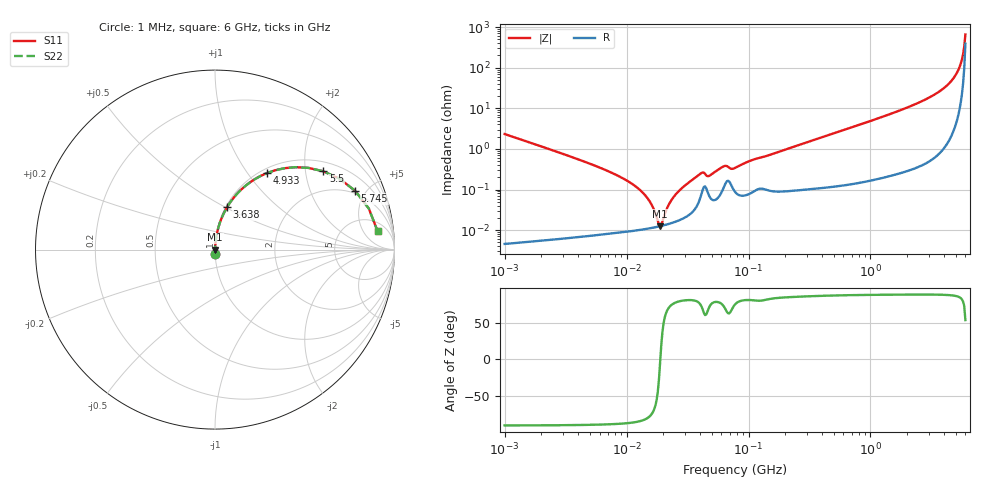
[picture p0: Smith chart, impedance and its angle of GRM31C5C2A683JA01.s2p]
!Murata Part Number: GRM31C5C2A683JA01
!These Parameters are Measured in Series Mode Connection
!Data Generated on Mar 30, 2021
!  o--ll--o
!Port1  Port2
!  o------o
!Operation Temp=25[degC], DC Bias Voltage=0[V]
!Freq. Start=1000[kHz] Stop=6[GHz] 401[Steps]
# Hz S RI R 50
!Freq.(Hz) S11(Real) S11(Imag) S21(Real) S21(Imag) S12(Real) S12(Imag) S22(Real) S22(Imag)
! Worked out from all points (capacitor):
!   401 points, 1 MHz to 6 GHz, reference 50 ohm
!   read as one part in series: C = 68.2 nF near 1.044 MHz
!   lowest |Z| = 12.6 mohm at 18.84 MHz (marker M1)
!   series resonance near 18.91 MHz, so ESL is about 1 nH
!   S11 on the Smith chart (normalised r, x): 1 MHz: 1.00, -0.05; 3.638 GHz: 1.02, +0.51; 4.933 GHz: 1.07, +1.25; 5.5 GHz: 1.28, +2.51; 5.745 GHz: 1.82, +4.22; 6 GHz: 9, +11
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1000000  0.000588 -0.0233  0.9994 0.0233  0.9994 0.0233  0.000588 -0.0233
4293785  9.54e-05 -0.00514  0.9999 0.00514  0.9999 0.00514  9.54e-05 -0.00514
8245209  9.06e-05 -0.00229  0.9999 0.00229  0.9999 0.00229  9.06e-05 -0.00229
1.219603e7  0.0001 -0.00112  0.9999 0.00112  0.9999 0.00112  0.0001 -0.00112
1.549236e7  0.000111 -0.000496  0.9999 0.000496  0.9999 0.000496  0.000111 -0.000496
1.843659e7  0.000123 -6.29e-05  0.9999 6.29e-05  0.9999 6.29e-05  0.000123 -6.29e-05
1.884196e7  0.000125 -9e-06  0.9999 9e-06  0.9999 9e-06  0.000125 -9e-06
1.967962e7  0.000129 9.92e-05  0.9999 -9.92e-05  0.9999 -9.92e-05  0.000129 9.92e-05
2.242276e7  0.000144 0.000428  0.9999 -0.000428  0.9999 -0.000428  0.000144 0.000428
2.499862e7  0.000161 0.000712  0.9998 -0.000712  0.9998 -0.000712  0.000161 0.000712
3.947016e7  0.000537 0.00228  0.9995 -0.00228  0.9995 -0.00228  0.000537 0.00228
4.800399e7  0.000666 0.0021  0.9993 -0.0021  0.9993 -0.0021  0.000666 0.0021
6.368941e7  0.00128 0.00358  0.9987 -0.00358  0.9987 -0.00358  0.00128 0.00358
7.745967e7  0.000891 0.00329  0.9991 -0.00329  0.9991 -0.00329  0.000891 0.00329
3.325952e8  0.00129 0.016  0.9987 -0.016  0.9987 -0.016  0.00129 0.016
1.428092e9  0.00713 0.0705  0.9929 -0.0705  0.9929 -0.0705  0.00713 0.0705
3.638376e9  0.0673 0.2363  0.9327 -0.2363  0.9327 -0.2363  0.0673 0.2363
4.329827e9  0.1401 0.3287  0.8599 -0.3287  0.8599 -0.3287  0.1401 0.3287
4.93336e9  0.2909 0.4269  0.7091 -0.4269  0.7091 -0.4269  0.2909 0.4269
5.500089e9  0.6034 0.4363  0.3966 -0.4363  0.3966 -0.4363  0.6034 0.4363
5.744609e9  0.7809 0.3278  0.2191 -0.3278  0.2191 -0.3278  0.7809 0.3278
6e9  0.9061 0.1018  0.0939 -0.1018  0.0939 -0.1018  0.9061 0.1018
